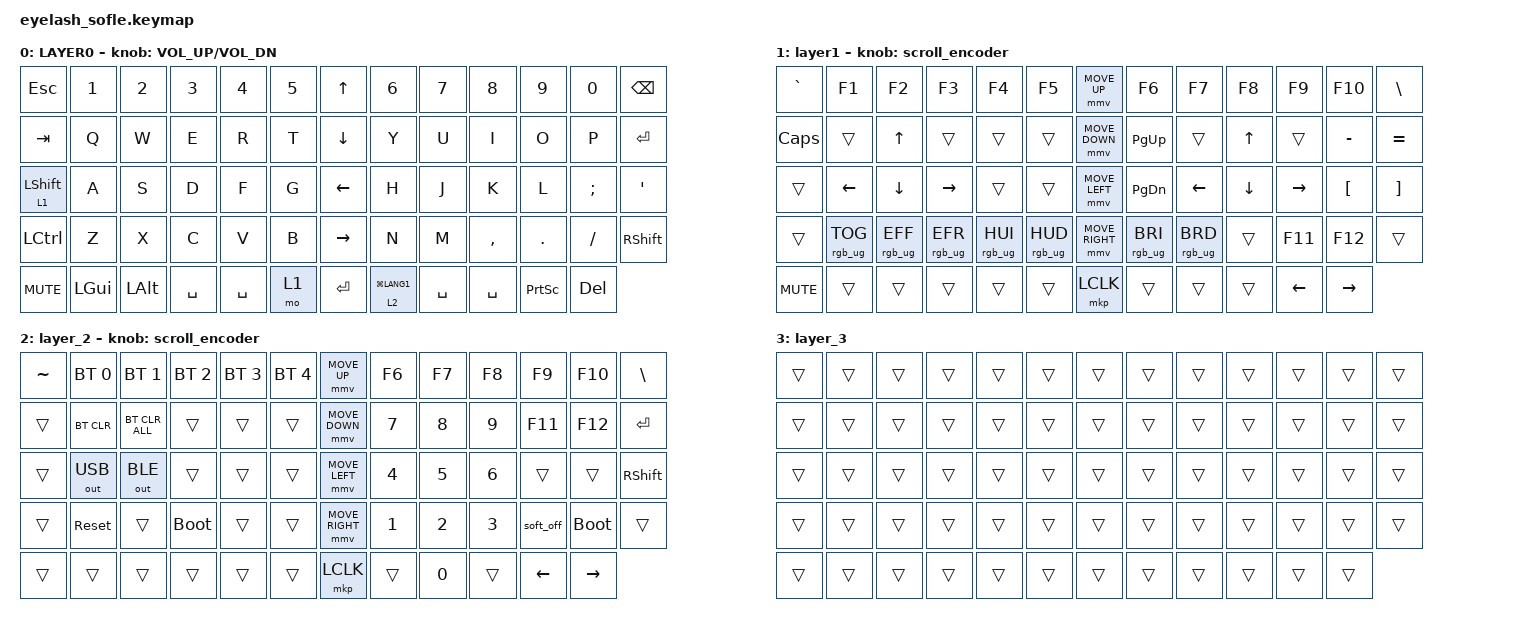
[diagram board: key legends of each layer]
#define ZMK_POINTING_DEFAULT_MOVE_VAL 1200  // 600
#define ZMK_POINTING_DEFAULT_SCRL_VAL 25   // 10

#include <input/processors.dtsi>
#include <zephyr/dt-bindings/input/input-event-codes.h>
#include <behaviors.dtsi>
#include <dt-bindings/zmk/bt.h>
#include <dt-bindings/zmk/keys.h>
#include <dt-bindings/zmk/outputs.h>
#include <dt-bindings/zmk/pointing.h>
#include <dt-bindings/zmk/rgb.h>

&mmv_input_listener { input-processors = <&zip_xy_scaler 2 1>; };

&msc_input_listener { input-processors = <&zip_scroll_scaler 2 1>; };

&msc {
    acceleration-exponent = <1>;      // 0
    time-to-max-speed-ms = <100>;       // 300
    delay-ms = <0>;                   // 0
};

&mmv {
    time-to-max-speed-ms = <500>;
    acceleration-exponent = <1>;
    trigger-period-ms = <16>;
};

/ {
    scroll_encoder: scroll_encoder {
        compatible = "zmk,behavior-sensor-rotate";
        #sensor-binding-cells = <0>;
        bindings = <&msc SCRL_DOWN>, <&msc SCRL_UP>;

        tap-ms = <100>;
    };

    behaviors {
    };

    combos {
        compatible = "zmk,combos";

        LS_esc {
            bindings = <&kp TILDE>;
            key-positions = <0 51>;
        };
    };

    keymap {
        compatible = "zmk,keymap";

        layer0 {
            bindings = <
&kp ESCAPE        &kp N1        &kp N2        &kp N3     &kp N4     &kp N5    &kp UP_ARROW     &kp N6           &kp N7     &kp N8     &kp N9           &kp N0      &kp BACKSPACE
&kp TAB           &kp Q         &kp W         &kp E      &kp R      &kp T     &kp DOWN_ARROW   &kp Y            &kp U      &kp I      &kp O            &kp P       &kp ENTER
&lt 1 LEFT_SHIFT  &kp A         &kp S         &kp D      &kp F      &kp G     &kp LEFT_ARROW   &kp H            &kp J      &kp K      &kp L            &kp SEMI    &kp APOS
&kp LCTRL         &kp Z         &kp X         &kp C      &kp V      &kp B     &kp RIGHT_ARROW  &kp N            &kp M      &kp COMMA  &kp DOT          &kp FSLH    &kp RIGHT_SHIFT
&kp C_MUTE        &kp LEFT_GUI  &kp LEFT_ALT  &kp SPACE  &kp SPACE  &mo 1     &kp ENTER        &lt 2 LG(LANG1)  &kp SPACE  &kp SPACE  &kp PRINTSCREEN  &kp DELETE
            >;

            sensor-bindings = <&inc_dec_kp C_VOLUME_UP C_VOL_DN>;
            display-name = "LAYER0";
        };

        layer_1 {
            bindings = <
&kp GRAVE     &kp F1           &kp F2           &kp F3           &kp F4           &kp F5             &mmv MOVE_UP     &kp F6           &kp F7           &kp F8    &kp F9          &kp F10           &kp BACKSLASH
&kp CAPSLOCK  &trans           &kp UP_ARROW     &trans           &trans           &trans             &mmv MOVE_DOWN   &kp PG_UP        &trans           &kp UP    &trans          &kp MINUS         &kp EQUAL
&trans        &kp LEFT_ARROW   &kp DOWN_ARROW   &kp RIGHT_ARROW  &trans           &trans             &mmv MOVE_LEFT   &kp PG_DN        &kp LEFT         &kp DOWN  &kp RIGHT       &kp LEFT_BRACKET  &kp RIGHT_BRACKET
&trans        &rgb_ug RGB_TOG  &rgb_ug RGB_EFF  &rgb_ug RGB_EFR  &rgb_ug RGB_HUI  &rgb_ug RGB_HUD    &mmv MOVE_RIGHT  &rgb_ug RGB_BRI  &rgb_ug RGB_BRD  &trans    &kp F11         &kp F12           &trans
&kp C_MUTE    &trans           &trans           &trans           &trans           &trans             &mkp LCLK        &trans           &trans           &trans    &kp LEFT_ARROW  &kp RIGHT_ARROW
            >;

            display-name = "layer1";
            sensor-bindings = <&scroll_encoder>;
        };

        layer_2 {
            bindings = <
&kp TILDE  &bt BT_SEL 0  &bt BT_SEL 1    &bt BT_SEL 2  &bt BT_SEL 3  &bt BT_SEL 4    &mmv MOVE_UP     &kp F6        &kp F7        &kp F8        &kp F9          &kp F10          &kp BACKSLASH
&trans     &bt BT_CLR    &bt BT_CLR_ALL  &trans        &trans        &trans          &mmv MOVE_DOWN   &kp NUMBER_7  &kp NUMBER_8  &kp NUMBER_9  &kp F11         &kp F12          &kp ENTER
&trans     &out OUT_USB  &out OUT_BLE    &trans        &trans        &trans          &mmv MOVE_LEFT   &kp NUMBER_4  &kp NUMBER_5  &kp NUMBER_6  &trans          &trans           &kp RIGHT_SHIFT
&trans     &sys_reset    &trans          &bootloader   &trans        &trans          &mmv MOVE_RIGHT  &kp NUMBER_1  &kp NUMBER_2  &kp NUMBER_3  &soft_off       &bootloader      &trans
&trans     &trans        &trans          &trans        &trans        &trans          &mkp LCLK        &trans        &kp NUMBER_0  &trans        &kp LEFT_ARROW  &kp RIGHT_ARROW
            >;

            sensor-bindings = <&scroll_encoder>;
        };

        layer_3 {
            bindings = <
&trans  &trans  &trans  &trans  &trans  &trans    &trans  &trans  &trans  &trans  &trans  &trans  &trans
&trans  &trans  &trans  &trans  &trans  &trans    &trans  &trans  &trans  &trans  &trans  &trans  &trans
&trans  &trans  &trans  &trans  &trans  &trans    &trans  &trans  &trans  &trans  &trans  &trans  &trans
&trans  &trans  &trans  &trans  &trans  &trans    &trans  &trans  &trans  &trans  &trans  &trans  &trans
&trans  &trans  &trans  &trans  &trans  &trans    &trans  &trans  &trans  &trans  &trans  &trans
            >;
        };
    };
};
